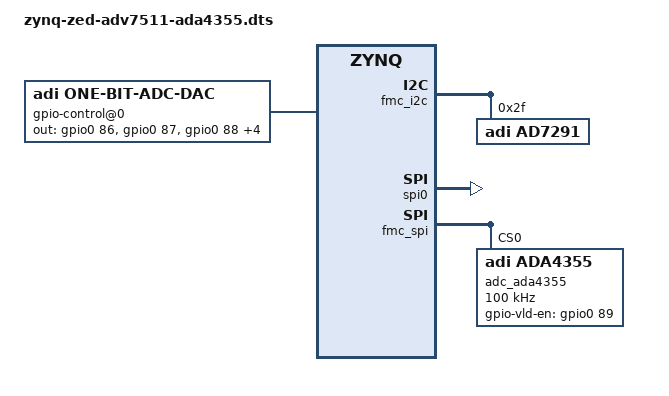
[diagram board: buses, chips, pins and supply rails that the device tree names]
// SPDX-License-Identifier: GPL-2.0
/*
 * Analog Devices ada4355
 *
 * hdl_project: <ada4355_fmc/zed>
 * board_revision: <>
 *
 * Copyright (C) 2025 Analog Devices Inc.
 */
/dts-v1/;

#include <dt-bindings/gpio/gpio.h>

#include "zynq-zed.dtsi"
#include "zynq-zed-adv7511.dtsi"

&fpga_axi {

	fmc_i2c: i2c@41620000 {
		compatible = "xlnx,axi-iic-1.01.b", "xlnx,xps-iic-2.00.a";
		interrupt-parent = <&intc>;
		interrupts = <0 55 IRQ_TYPE_LEVEL_HIGH>;
		reg = <0x41620000 0x10000>;

		#size-cells = <0>;
		#address-cells = <1>;

		ad7291@2f {
			compatible = "adi,ad7291";
			reg = <0x2f>;
		};
	};

	rx_dma: rx-dmac@44a30000 {
		compatible = "adi,axi-dmac-1.00.a";
		reg = <0x44A30000 0x10000>;
		#dma-cells = <1>;
		interrupts = <0 57 IRQ_TYPE_LEVEL_HIGH>;
		clocks = <&clkc 16>;

		adi,channels {
			#size-cells = <0>;
			#address-cells = <1>;

			dma-channel@0 {
				reg = <0>;
				adi,source-bus-width = <32>;
				adi,source-bus-type = <2>;
				adi,destination-bus-width = <64>;
				adi,destination-bus-type = <0>;
			};
		};
	};

	ada4355: ada4355@44a00000 {
		compatible = "adi,axi-adc-10.0.a";
		reg = <0x44A00000 0x10000>;
		dmas = <&rx_dma 0>;
		dma-names = "rx";

		spibus-connected = <&adc_ada4355>;
	};

	/* TDD Controller for LiDAR timing control */
	axi_tdd: axi-tdd@44a40000 {
		compatible = "adi,axi-tdd";
		reg = <0x44a40000 0x10000>;
		clocks = <&clkc 15>, <&ada4355_fixed_clock>;
		clock-names = "s_axi_aclk", "intf_clk";
	};
};

&spi0 {
	status = "okay";
};

#define fmc_spi spi0

/ {
	ada4355_fixed_clock: ada4355_fixed_clock{
		compatible = "fixed-clock";
		#clock-cells = <0>;
		clock-frequency = <125000000>;
	};

	gpio-control@0 {
		compatible = "adi,one-bit-adc-dac";
		#address-cells = <1>;
		#size-cells = <0>;
		out-gpios = <&gpio0 86 GPIO_ACTIVE_HIGH>,
			    <&gpio0 87 GPIO_ACTIVE_HIGH>,
			    <&gpio0 88 GPIO_ACTIVE_HIGH>,
			    <&gpio0 90 GPIO_ACTIVE_HIGH>,
			    <&gpio0 91 GPIO_ACTIVE_HIGH>,
			    <&gpio0 92 GPIO_ACTIVE_HIGH>,
			    <&gpio0 93 GPIO_ACTIVE_HIGH>;

		channel@0 {
			reg = <0>;
			label = "GSEL0";
		};
		channel@1 {
			reg = <1>;
			label = "GSEL1";
		};
		channel@2 {
			reg = <2>;
			label = "FSEL0";
		};
		channel@3 {
			reg = <3>;
			label = "GSEL2";
		};
		channel@4 {
			reg = <4>;
			label = "GPIO_TEST";
		};
		channel@5 {
			reg = <5>;
			label = "GSEL3";
		};
		channel@6 {
			reg = <6>;
			label = "FSEL1";
		};
	};
};

&fmc_spi {

	adc_ada4355: adc_ada4355@0 {
		compatible = "adi,ada4355";
		reg = <0>;
		spi-max-frequency = <100000>;
		gpio-vld-en-gpios = <&gpio0 89 GPIO_ACTIVE_HIGH>;

		clocks = <&ada4355_fixed_clock>;
		clock-names = "adc_clk";
		num_lanes = <2>;
		spi-cpol;
		spi-cpha;
	};
};
